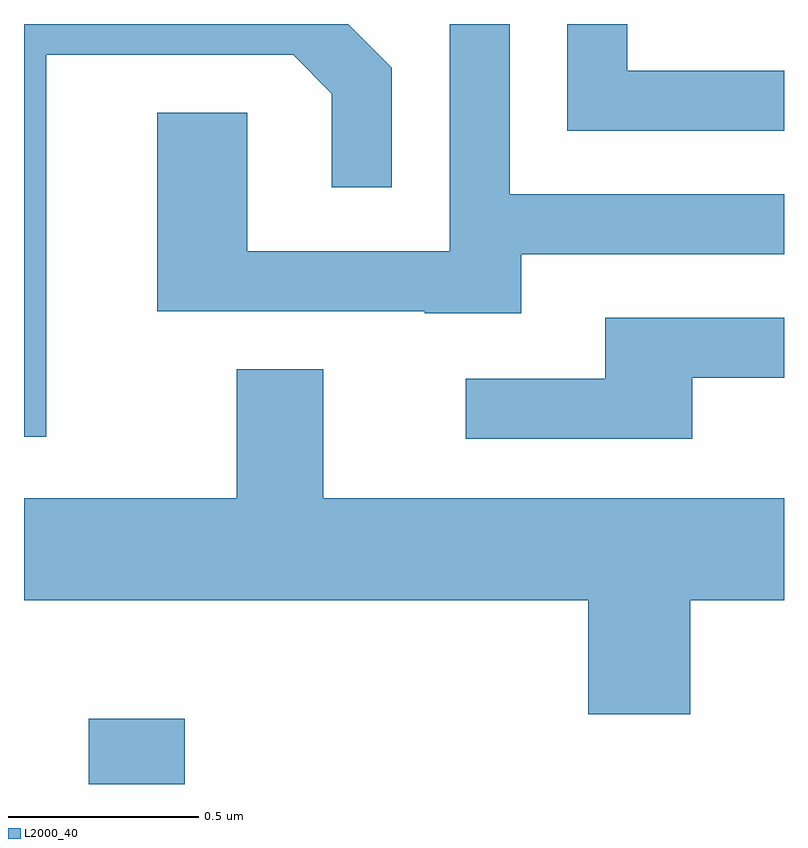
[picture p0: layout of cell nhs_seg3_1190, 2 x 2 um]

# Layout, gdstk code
import gdstk
lib = gdstk.Library(unit=1e-6, precision=1e-09)
def R(c, l, rs):  # rectangles x0, y0, x1, y1
    for r in rs: c.add(gdstk.rectangle(r[:2], r[2:], *l))
def P(c, l, *ps):  # polygons
    for p in ps: c.add(gdstk.Polygon(p, *l))
L2000_40 = (2000, 40)

nhs_seg3_1190 = lib.new_cell('nhs_seg3_1190')
R(nhs_seg3_1190, L2000_40, [(193.781,1209.892,194.034,1210.064)])
P(nhs_seg3_1190, L2000_40, [(193.669,1211.811),(194.319,1211.811),(194.421,1211.709),(194.421,1211.463),(194.579,1211.463),(194.579,1211.777),(194.464,1211.892),(193.611,1211.892),(193.611,1210.806),(193.669,1210.806)],
  [(194.919,1211.286),(195.611,1211.286),(195.611,1211.444),(194.889,1211.444),(194.889,1211.892),(194.731,1211.892),(194.731,1211.294),(194.199,1211.294),(194.199,1211.659),(193.961,1211.659),(193.961,1211.136),(194.665,1211.136),(194.665,1211.131),(194.919,1211.131)],
  [(195.611,1211.769),(195.199,1211.769),(195.199,1211.892),(195.041,1211.892),(195.041,1211.611),(195.611,1211.611)],
  [(195.369,1210.961),(195.611,1210.961),(195.611,1211.119),(195.141,1211.119),(195.141,1210.959),(194.773,1210.959),(194.773,1210.801),(195.369,1210.801)],
  [(195.364,1210.376),(195.611,1210.376),(195.611,1210.644),(194.399,1210.644),(194.399,1210.984),(194.171,1210.984),(194.171,1210.644),(193.611,1210.644),(193.611,1210.376),(195.096,1210.376),(195.096,1210.076),(195.364,1210.076)])

lib.write_gds('nhs_seg3_1190.gds')
